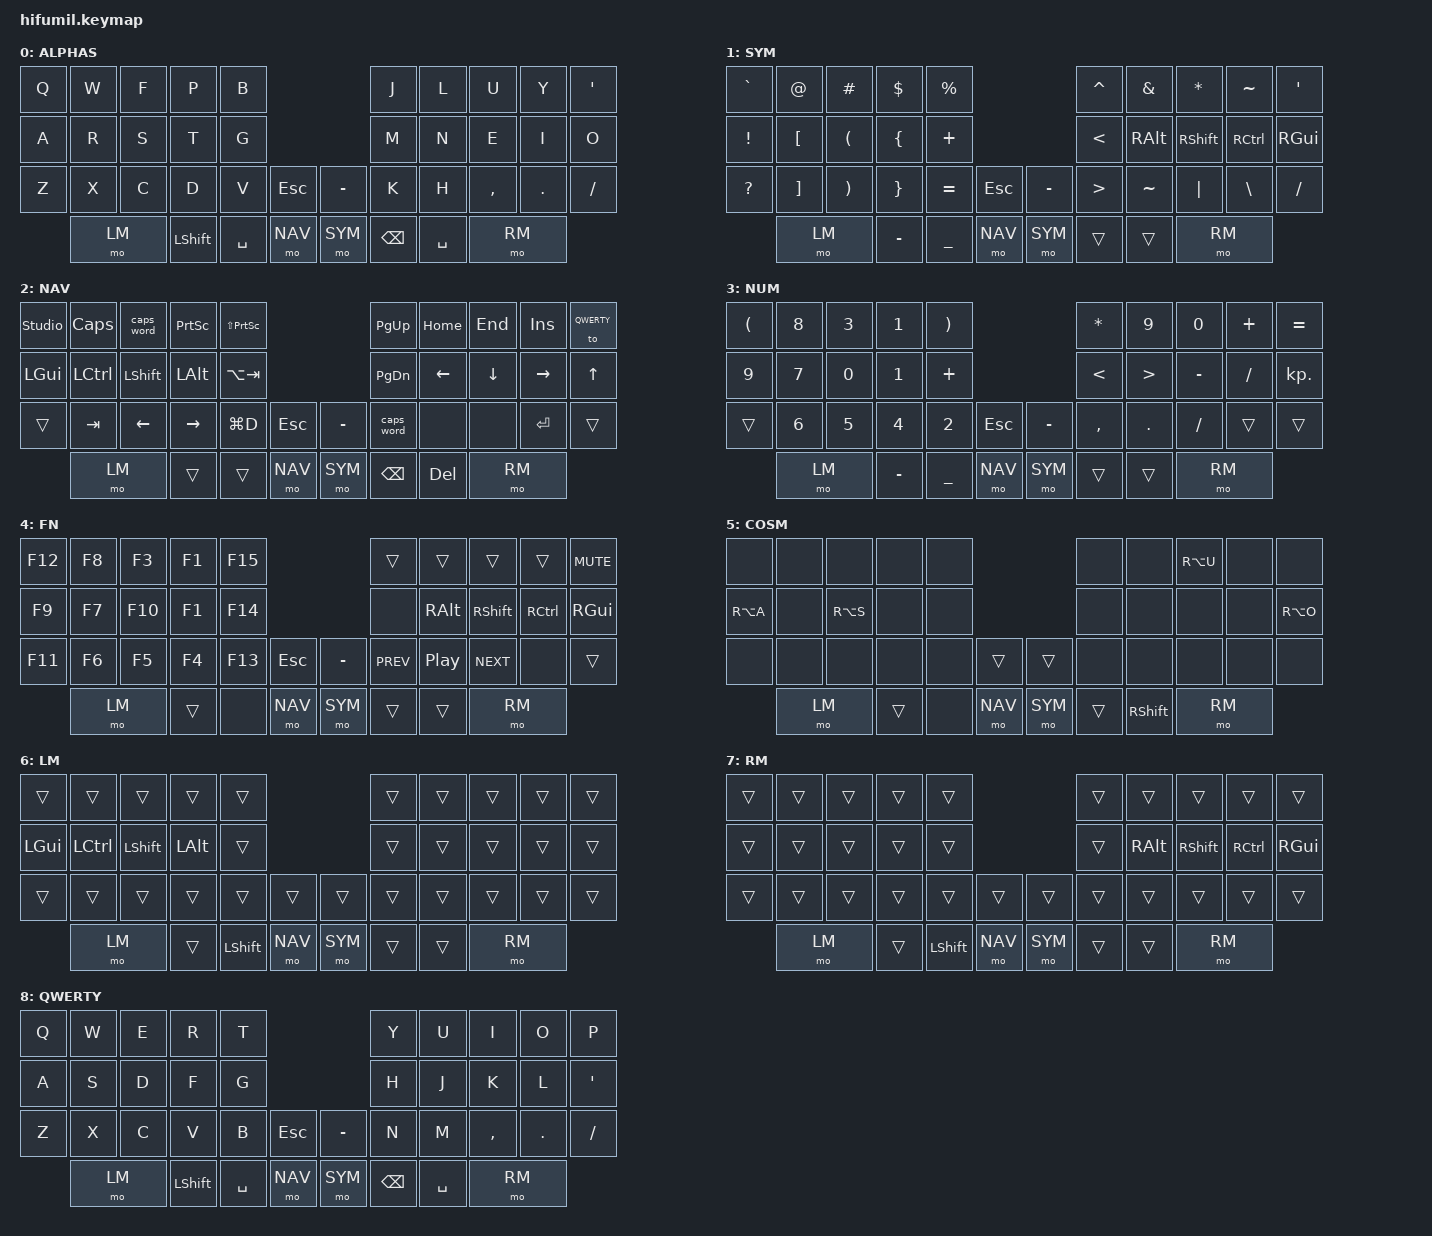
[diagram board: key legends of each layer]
#include <behaviors.dtsi>
#include <dt-bindings/zmk/keys.h>
#include <dt-bindings/zmk/pointing.h>

#define ALPHAS 0
#define SYM 1
#define NAV 2
#define NUM 3
#define FN 4
#define COSM 5
#define LM 6
#define RM 7
#define QWERTY 8

/ {
    keymap {
        compatible = "zmk,keymap";

        default_layer {
            display-name = "ALPHAS";
            bindings = <
                &kp Q      &kp W      &kp F      &kp P      &kp B                       &kp J      &kp L      &kp U      &kp Y      &kp SQT
                &kp A      &kp R      &kp S      &kp T      &kp G                       &kp M      &kp N      &kp E      &kp I      &kp O
                &kp Z      &kp X      &kp C      &kp D      &kp V  &kp ESC  &kp MINUS   &kp K      &kp H      &kp COMMA  &kp DOT    &kp FSLH
                             &mo LM   &kp LSHFT  &kp SPACE  &mo NAV &mo SYM              &kp BSPC   &kp SPACE  &mo RM
            >;
        };

        sym_layer {
            display-name = "SYM";
            bindings = <
                &kp GRAVE  &kp AT     &kp HASH   &kp DLLR   &kp PRCNT                   &kp CARET  &kp AMPERSAND   &kp ASTRK  &kp TILDE  &kp APOSTROPHE
                &kp EXCL   &kp LBKT   &kp LPAR   &kp LBRC   &kp PLUS                    &kp LT     &kp RALT   &kp RSHFT  &kp RCTRL  &kp RGUI   
                &kp QMARK     &kp RBKT     &kp RPAR   &kp RBRC   &kp EQUAL &kp ESC  &kp MINUS &kp GT  &kp TILDE     &kp PIPE     &kp BSLH     &kp FSLH
                             &mo LM   &kp MINUS  &kp UNDER  &mo NAV  &mo SYM             &trans     &trans     &mo RM
            >;
        };

        nav_layer {
            display-name = "NAV";
            bindings = <
                &studio_unlock &kp CAPS  &caps_word &kp PSCRN &kp LS(PSCRN)              &kp PG_UP  &kp HOME   &kp END    &kp INS    &to QWERTY
                    &kp LGUI  &kp LCTRL  &kp LSHFT &kp LALT &kp LA(TAB)                  &kp PG_DN  &kp LEFT   &kp DOWN   &kp RIGHT  &kp UP
                &trans         &kp TAB   &kp LEFT   &kp RIGHT &kp LG(D) &kp ESC  &kp MINUS &caps_word &none     &none      &kp RET    &trans
                                 &mo LM  &trans     &trans    &mo NAV  &mo SYM            &kp BSPC   &kp DEL    &mo RM
            >;
        };

        num_layer {
            display-name = "NUM";
            bindings = <
                &kp LPAR   &kp N8     &kp N3     &kp N1     &kp RPAR                    &kp ASTRK  &kp N9     &kp N0     &kp PLUS   &kp EQUAL
                &kp N9     &kp N7     &kp N0     &kp N1     &kp PLUS                    &kp LT     &kp GT     &kp MINUS  &kp SLASH  &kp KP_DOT
                &trans     &kp N6     &kp N5     &kp N4     &kp N2  &kp ESC  &kp MINUS   &kp COMMA  &kp DOT    &kp FSLH   &trans     &trans
                              &mo LM  &kp MINUS  &kp UNDER  &mo NAV  &mo SYM             &trans     &trans     &mo RM
            >;
        };

        fn_layer {
            display-name = "FN";
            bindings = <
                &kp F12    &kp F8     &kp F3     &kp F1     &kp F15                     &trans     &trans     &trans    &trans     &kp C_MUTE
                &kp F9    &kp F7     &kp F10     &kp F1     &kp F14                     &none &kp RALT   &kp RSHFT  &kp RCTRL  &kp RGUI   
                &kp F11     &kp F6     &kp F5      &kp F4      &kp F13   &kp ESC  &kp MINUS   &kp C_PREV      &kp C_PP      &kp C_NEXT      &none      &trans
                              &mo LM  &trans     &none      &mo NAV  &mo SYM             &trans     &trans     &mo RM
            >;
        };

        cosm_layer {
            display-name = "COSM";
            bindings = <
                &none      &none      &none      &none      &none                       &none      &none      &kp RA(U)      &none      &none
                &kp RA(A)      &none      &kp RA(S)      &none      &none                       &none      &none      &none      &none      &kp RA(O)
                &none      &none      &none      &none      &none  &trans  &trans    &none      &none      &none      &none      &none
                              &mo LM  &trans     &none      &mo NAV  &mo SYM             &trans     &kp RSHFT  &mo RM
            >;
        };

        lm_layer {
            display-name = "LM";
            bindings = <
                &trans     &trans     &trans     &trans     &trans                      &trans     &trans     &trans     &trans     &trans
                &kp LGUI   &kp LCTRL  &kp LSHFT  &kp LALT   &trans                      &trans     &trans     &trans     &trans     &trans
                &trans     &trans     &trans     &trans     &trans  &trans  &trans   &trans     &trans     &trans     &trans     &trans
                              &mo LM  &trans     &kp LSHFT  &mo NAV  &mo SYM             &trans     &trans     &mo RM
            >;
        };

        rm_layer {
            display-name = "RM";
            bindings = <
                &trans     &trans     &trans     &trans     &trans                      &trans     &trans     &trans     &trans     &trans
                &trans     &trans     &trans     &trans     &trans                      &trans     &kp RALT   &kp RSHFT  &kp RCTRL  &kp RGUI   
                &trans     &trans     &trans     &trans     &trans  &trans  &trans   &trans     &trans     &trans     &trans     &trans
                              &mo LM  &trans     &kp LSHFT  &mo NAV  &mo SYM             &trans     &trans     &mo RM
            >;
        };

        qwerty {
            display-name = "QWERTY";
            bindings = <
                &kp Q      &kp W      &kp E      &kp R      &kp T                       &kp Y      &kp U      &kp I      &kp O      &kp P
                &kp A      &kp S      &kp D      &kp F      &kp G                       &kp H      &kp J      &kp K      &kp L      &kp SQT
                &kp Z      &kp X      &kp C      &kp V      &kp B  &kp ESC  &kp MINUS   &kp N      &kp M      &kp COMMA  &kp DOT    &kp FSLH
                             &mo LM   &kp LSHFT  &kp SPACE  &mo NAV &mo SYM              &kp BSPC   &kp SPACE  &mo RM
            >;
        };

        extra1 { status = "reserved"; };
        extra2 { status = "reserved"; };
        extra3 { status = "reserved"; };
    };
};

/ {
    conditional_layers {
        compatible = "zmk,conditional-layers";
        tri_num {
            if-layers = <SYM NAV>;
            then-layer = <NUM>;
        };
        tri_fn {
            if-layers = <SYM RM>;
            then-layer = <COSM>;
        };
        tri_cosm {
            if-layers = <NAV LM>;
            then-layer = <FN>;
        };
    };
};
